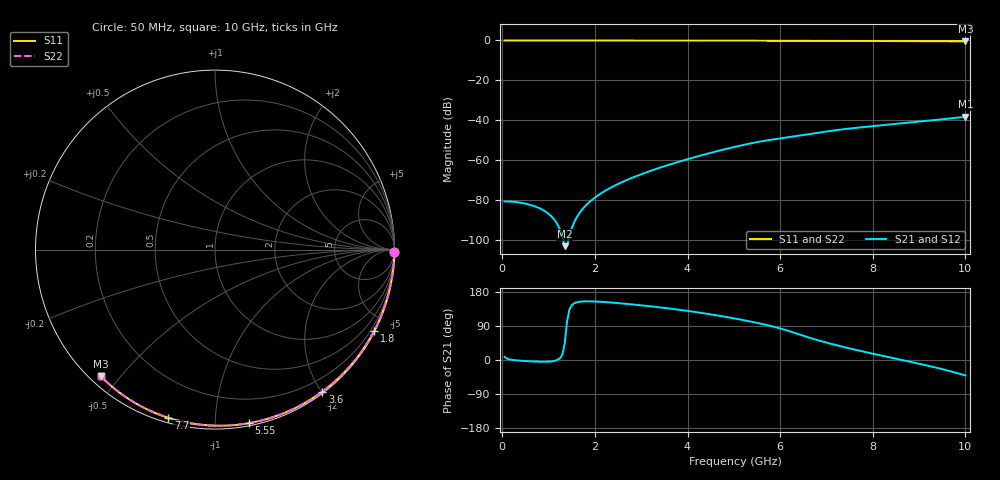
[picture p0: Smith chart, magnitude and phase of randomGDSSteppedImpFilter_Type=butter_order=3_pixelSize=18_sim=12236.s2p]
! freq	dB(S11)	phase(S11)	dB(S12)	phase(S12)
!  dB(S21)	phase(S21)	dB(S22)	phase(S22)
!S-par simulation data
#  GHz  S  DB  R 50
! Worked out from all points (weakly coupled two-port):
!   200 points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, 50 MHz to 10 GHz, reference 50 ohm
!   highest |S21| = -38.19 dB at 10 GHz (marker M1); lowest = -102.9 dB at 1.35 GHz (marker M2)
!   lowest |S11| = -0.4 dB at 10 GHz (marker M3), VSWR 39.07, Z = 1.53 - j22.2 ohm
!   |S11| at or under -10 dB: nowhere
!   |S22| runs from -0.4 to 0.0 dB; largest |S21 - S12| = 0
!   S11 on the Smith chart (normalised r, x): 50 MHz: open; 1.8 GHz: 0.04, -4.15; 3.6 GHz: 0.02, -2.01; 5.55 GHz: 0.02, -1.21; 7.7 GHz: 0.02, -0.76; 10 GHz: 0.03, -0.44
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0.05  -0.00 -0.8  -80.55 8.2  -80.55 8.2  -0.00 -0.8
0.7  -0.01 -10.7  -82.92 -4.2  -82.92 -4.2  -0.02 -10.7
1.35  -0.03 -20.4  -102.87 45.0  -102.87 45.0  -0.03 -20.4
1.75  -0.03 -26.3  -83.87 154.6  -83.87 154.6  -0.03 -26.4
1.8  -0.03 -27.1  -82.61 154.8  -82.61 154.8  -0.03 -27.1
1.9  -0.04 -28.5  -80.44 154.8  -80.44 154.8  -0.04 -28.6
1.95  -0.04 -29.3  -79.47 154.6  -79.47 154.6  -0.04 -29.3
2.1  -0.04 -31.5  -76.95 153.8  -76.95 153.8  -0.04 -31.5
2.25  -0.04 -33.7  -74.80 152.6  -74.80 152.6  -0.04 -33.7
2.65  -0.05 -39.5  -70.18 148.5  -70.18 148.5  -0.05 -39.5
3  -0.06 -44.5  -66.90 144.3  -66.90 144.3  -0.06 -44.5
3.4  -0.07 -50.1  -63.64 138.9  -63.64 138.9  -0.07 -50.2
3.6  -0.07 -52.9  -62.15 136.0  -62.15 136.0  -0.07 -53.0
4.3  -0.09 -62.5  -57.42 124.3  -57.42 124.3  -0.09 -62.6
5.05  -0.11 -72.5  -53.05 108.9  -53.05 108.9  -0.11 -72.6
5.55  -0.13 -79.0  -50.63 96.7  -50.63 96.7  -0.13 -79.1
6.7  -0.18 -93.5  -46.58 56.3  -46.58 56.3  -0.18 -93.6
7.2  -0.21 -99.6  -44.88 39.5  -44.88 39.5  -0.21 -99.7
7.7  -0.24 -105.6  -43.55 24.8  -43.55 24.8  -0.24 -105.6
8.35  -0.29 -113.2  -42.08 7.4  -42.08 7.4  -0.29 -113.3
9.15  -0.36 -122.4  -40.27 -13.9  -40.27 -13.9  -0.36 -122.5
10  -0.44 -132.1  -38.19 -40.8  -38.19 -40.8  -0.45 -132.2
